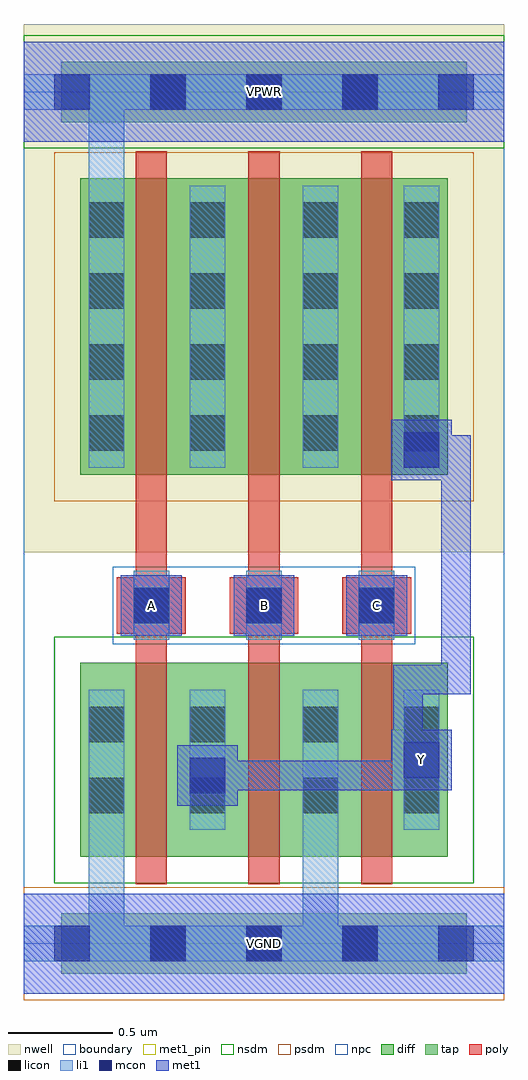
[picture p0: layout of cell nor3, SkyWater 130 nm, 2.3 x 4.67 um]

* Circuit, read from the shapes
.subckt nor3 A B C VGND VPWR Y
XM1 Y A VGND VGND sky130_fd_pr__nfet_01v8 w=0.93 l=0.15
XM2 VGND B Y VGND sky130_fd_pr__nfet_01v8 w=0.93 l=0.15
XM3 Y C VGND VGND sky130_fd_pr__nfet_01v8 w=0.93 l=0.15
XM4 n1 A VPWR VPWR sky130_fd_pr__pfet_01v8 w=1.42 l=0.15
XM5 n2 B n1 VPWR sky130_fd_pr__pfet_01v8 w=1.42 l=0.15
XM6 Y C n2 VPWR sky130_fd_pr__pfet_01v8 w=1.42 l=0.15
.ends

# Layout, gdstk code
import gdstk
lib = gdstk.Library(unit=1e-6, precision=1e-09)
def R(c, l, rs):  # rectangles x0, y0, x1, y1
    for r in rs: c.add(gdstk.rectangle(r[:2], r[2:], *l))
def A(c, l, x, y, w, h, nx, ny, dx, dy):  # array of equal rectangles
    R(c, l, [(x+i*dx, y+j*dy, x+i*dx+w, y+j*dy+h) for i in range(nx) for j in range(ny)])
nwell = (64, 20)
diff = (65, 20)
tap = (65, 44)
poly = (66, 20)
licon = (66, 44)
li1 = (67, 20)
mcon = (67, 44)
met1_pin = (68, 16)
met1 = (68, 20)
nsdm = (93, 44)
psdm = (94, 20)
npc = (95, 20)
boundary = (235, 4)

nor3 = lib.new_cell('nor3')
R(nor3, nwell, [(0,1.875,2.3,4.405)])
R(nor3, diff, [(0.27,0.415,2.03,1.345), (0.27,2.245,2.03,3.665)])
R(nor3, tap, [(0.18,-0.145,2.12,0.145), (0.18,3.935,2.12,4.225)])
A(nor3, poly, 0.535, 0.285, 0.15, 3.51, 3, 1, 0.54, 0)
A(nor3, poly, 0.445, 1.485, 0.33, 0.27, 3, 1, 0.54, 0)
A(nor3, licon, 0.605, -0.085, 0.17, 0.17, 3, 2, 0.46, 4.08)
A(nor3, licon, 0.525, 1.535, 0.17, 0.17, 3, 1, 0.54, 0)
A(nor3, licon, 0.31, 2.36, 0.17, 0.17, 1, 4, 0, 0.34)
A(nor3, licon, 0.795, 2.36, 0.17, 0.17, 1, 4, 0, 0.34)
A(nor3, licon, 1.335, 2.36, 0.17, 0.17, 1, 4, 0, 0.34)
A(nor3, licon, 1.82, 2.36, 0.17, 0.17, 1, 4, 0, 0.34)
R(nor3, licon, [(0.31,0.625,0.48,0.795), (0.795,0.625,0.965,0.795), (1.335,0.625,1.505,0.795), (1.82,0.625,1.99,0.795), (0.31,0.965,0.48,1.135), (0.795,0.965,0.965,1.135), (1.335,0.965,1.505,1.135), (1.82,0.965,1.99,1.135)])
A(nor3, li1, 0.525, 1.455, 0.17, 0.33, 3, 1, 0.54, 0)
R(nor3, li1, [(0,-0.085,2.3,0.085), (0.31,-0.085,0.48,1.215), (1.335,-0.085,1.505,1.215), (0.31,0.545,0.48,1.215), (0.795,0.545,0.965,1.215), (1.335,0.545,1.505,1.215), (1.82,0.545,1.99,1.215), (0.31,2.28,0.48,3.63), (0.31,2.28,0.48,4.165), (0.795,2.28,0.965,3.63), (1.335,2.28,1.505,3.63), (1.82,2.28,1.99,3.63), (0,3.995,2.3,4.165)])
A(nor3, mcon, 0.145, -0.085, 0.17, 0.17, 5, 2, 0.46, 4.08)
A(nor3, mcon, 0.525, 1.535, 0.17, 0.17, 3, 1, 0.54, 0)
R(nor3, mcon, [(0.795,0.72,0.965,0.89), (1.82,0.795,1.99,0.965), (1.82,2.28,1.99,2.45)])
A(nor3, met1_pin, 0.465, 1.475, 0.29, 0.29, 3, 1, 0.54, 0)
R(nor3, met1_pin, [(0,-0.24,2.3,0.24), (1.76,0.735,2.05,1.025), (0,3.84,2.3,4.32)])
A(nor3, met1, 0.465, 1.475, 0.29, 0.29, 3, 1, 0.54, 0)
R(nor3, met1, [(0,-0.24,2.3,0.24), (0.735,0.66,1.025,0.95), (0.81,0.735,1.105,0.875), (0.965,0.735,1.91,0.875), (1.76,0.735,2.05,1.025), (1.77,0.735,1.91,0.875), (1.77,0.735,1.91,1.335), (1.77,1.195,2.14,1.335), (2,1.195,2.14,2.255), (2,2.115,2.14,2.435), (1.76,2.22,2.05,2.51), (1.835,2.295,2.14,2.435), (0,3.84,2.3,4.32)])
R(nor3, nsdm, [(0.145,0.29,2.155,1.47), (0,3.81,2.3,4.35)])
R(nor3, psdm, [(0,-0.27,2.3,0.27), (0.145,2.12,2.155,3.79)])
R(nor3, npc, [(0.425,1.435,1.875,1.805)])
R(nor3, boundary, [(0,0,2.3,4.08)])
nor3.add(gdstk.Label('A', (0.61,1.62), layer=68, texttype=5))
nor3.add(gdstk.Label('B', (1.15,1.62), layer=68, texttype=5))
nor3.add(gdstk.Label('C', (1.69,1.62), layer=68, texttype=5))
nor3.add(gdstk.Label('Y', (1.905,0.88), layer=68, texttype=5))
nor3.add(gdstk.Label('VPWR', (1.15,4.08), layer=68, texttype=5))
nor3.add(gdstk.Label('VGND', (1.15,0), layer=68, texttype=5))
nor3.add(gdstk.Label('A', (0.61,1.62), layer=68, texttype=16))
nor3.add(gdstk.Label('B', (1.15,1.62), layer=68, texttype=16))
nor3.add(gdstk.Label('C', (1.69,1.62), layer=68, texttype=16))
nor3.add(gdstk.Label('Y', (1.905,0.88), layer=68, texttype=16))
nor3.add(gdstk.Label('VPWR', (1.15,4.08), layer=68, texttype=16))
nor3.add(gdstk.Label('VGND', (1.15,0), layer=68, texttype=16))

lib.write_gds('nor3.gds')
